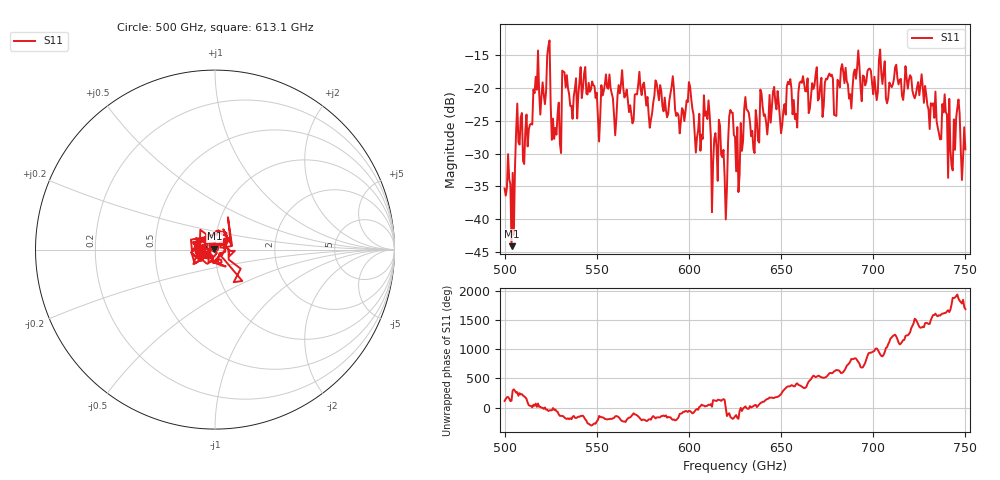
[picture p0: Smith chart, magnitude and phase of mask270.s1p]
!Created with skrf (http://scikit-rf.org).
# GHz S MA R 50.0
!freq magS11 angS11
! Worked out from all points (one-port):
!   401 points, 500 GHz to 750 GHz, reference 50 ohm
!   lowest |S11| = -44.2 dB at 503.8 GHz (marker M1), VSWR 1.01, Z = 49.7 + j0.546 ohm
!   |S11| at or under -10 dB: start of sweep to end of sweep
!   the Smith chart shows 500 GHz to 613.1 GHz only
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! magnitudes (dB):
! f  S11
! 500 GHz  -35.3
! 503.8 GHz  -44.2
! 507.5 GHz  -28.2
! 511.2 GHz  -26.4
! 516.9 GHz  -18.3
! 520.6 GHz  -19.1
! 523.8 GHz  -13.6
! 526.9 GHz  -27.8
! 531.2 GHz  -17.3
! 532.5 GHz  -17.6
! 550.6 GHz  -24.6
! 562.5 GHz  -20.8
! 568.8 GHz  -24.0
! 590.6 GHz  -19.7
! 593.8 GHz  -23.8
! 600 GHz  -19.1
! 605 GHz  -26.4
! 609.4 GHz  -23.6
! 619.4 GHz  -33.6
! 622.5 GHz  -23.3
! 625 GHz  -27.4
! 626.2 GHz  -26.0
! 631.2 GHz  -23.3
! 656.2 GHz  -24.0
! 687.5 GHz  -20.9
! 691.2 GHz  -16.9
! 718.8 GHz  -20.1
! 750 GHz  -29.4
